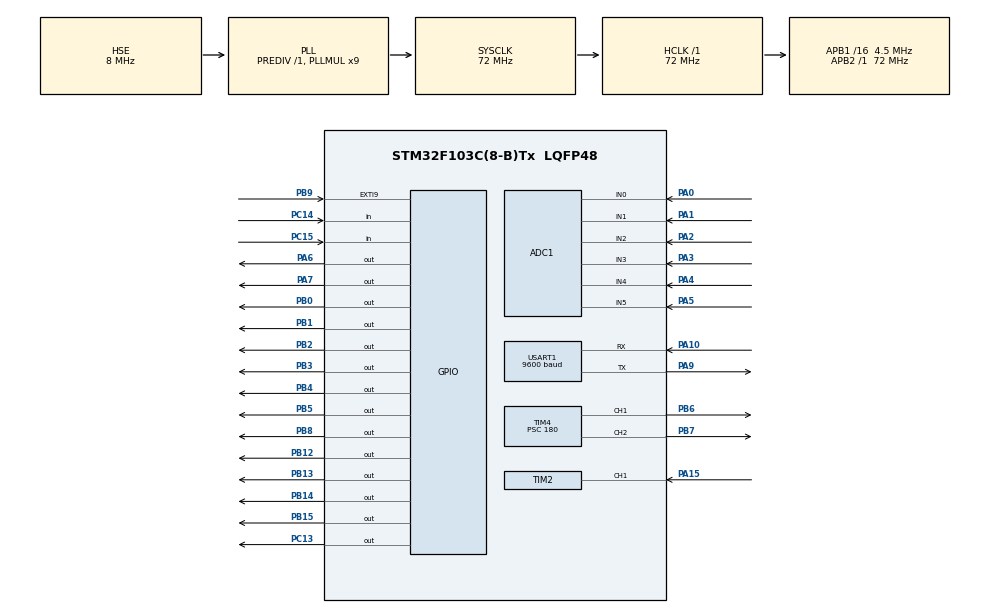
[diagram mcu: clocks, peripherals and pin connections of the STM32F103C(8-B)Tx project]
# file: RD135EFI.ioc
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ADC1.Channel-0\#ChannelRegularConversion=ADC_CHANNEL_0
ADC1.Channel-1\#ChannelRegularConversion=ADC_CHANNEL_1
ADC1.Channel-2\#ChannelRegularConversion=ADC_CHANNEL_2
ADC1.Channel-3\#ChannelRegularConversion=ADC_CHANNEL_3
ADC1.Channel-4\#ChannelRegularConversion=ADC_CHANNEL_4
ADC1.Channel-5\#ChannelRegularConversion=ADC_CHANNEL_5
ADC1.Channel-6\#ChannelRegularConversion=ADC_CHANNEL_TEMPSENSOR
ADC1.ContinuousConvMode=ENABLE
ADC1.NbrOfConversion=7
ADC1.NbrOfConversionFlag=1
ADC1.Rank-0\#ChannelRegularConversion=1
ADC1.Rank-1\#ChannelRegularConversion=2
ADC1.Rank-2\#ChannelRegularConversion=3
ADC1.Rank-3\#ChannelRegularConversion=4
ADC1.Rank-4\#ChannelRegularConversion=5
ADC1.Rank-5\#ChannelRegularConversion=6
ADC1.Rank-6\#ChannelRegularConversion=7
ADC1.SamplingTime-0\#ChannelRegularConversion=ADC_SAMPLETIME_239CYCLES_5
ADC1.SamplingTime-1\#ChannelRegularConversion=ADC_SAMPLETIME_239CYCLES_5
ADC1.SamplingTime-2\#ChannelRegularConversion=ADC_SAMPLETIME_239CYCLES_5
ADC1.SamplingTime-3\#ChannelRegularConversion=ADC_SAMPLETIME_239CYCLES_5
ADC1.SamplingTime-4\#ChannelRegularConversion=ADC_SAMPLETIME_239CYCLES_5
ADC1.SamplingTime-5\#ChannelRegularConversion=ADC_SAMPLETIME_239CYCLES_5
ADC1.SamplingTime-6\#ChannelRegularConversion=ADC_SAMPLETIME_239CYCLES_5
ADC1.master=1
Dma.ADC1.0.Direction=DMA_PERIPH_TO_MEMORY
Dma.ADC1.0.Instance=DMA1_Channel1
Dma.ADC1.0.MemDataAlignment=DMA_MDATAALIGN_HALFWORD
Dma.ADC1.0.MemInc=DMA_MINC_ENABLE
Dma.ADC1.0.Mode=DMA_CIRCULAR
Dma.ADC1.0.PeriphDataAlignment=DMA_PDATAALIGN_HALFWORD
Dma.ADC1.0.PeriphInc=DMA_PINC_DISABLE
Dma.ADC1.0.Priority=DMA_PRIORITY_LOW
Dma.Request0=ADC1
Dma.Request1=USART1_RX
Dma.Request2=USART1_TX
Dma.USART1_RX.1.Direction=DMA_PERIPH_TO_MEMORY
Dma.USART1_RX.1.Instance=DMA1_Channel5
Dma.USART1_RX.1.MemDataAlignment=DMA_MDATAALIGN_BYTE
Dma.USART1_RX.1.MemInc=DMA_MINC_ENABLE
Dma.USART1_RX.1.Mode=DMA_NORMAL
Dma.USART1_RX.1.PeriphDataAlignment=DMA_PDATAALIGN_BYTE
Dma.USART1_RX.1.PeriphInc=DMA_PINC_DISABLE
Dma.USART1_RX.1.Priority=DMA_PRIORITY_LOW
Dma.USART1_TX.2.Direction=DMA_MEMORY_TO_PERIPH
Dma.USART1_TX.2.Instance=DMA1_Channel4
Dma.USART1_TX.2.MemDataAlignment=DMA_MDATAALIGN_BYTE
Dma.USART1_TX.2.MemInc=DMA_MINC_ENABLE
Dma.USART1_TX.2.Mode=DMA_NORMAL
Dma.USART1_TX.2.PeriphDataAlignment=DMA_PDATAALIGN_BYTE
Dma.USART1_TX.2.PeriphInc=DMA_PINC_DISABLE
Dma.USART1_TX.2.Priority=DMA_PRIORITY_LOW
Mcu.Family=STM32F1
Mcu.Name=STM32F103C(8-B)Tx
Mcu.Package=LQFP48
NVIC.ADC1_2_IRQn=true\:0\:0\:false\:false\:true\:true\:true
NVIC.DMA1_Channel1_IRQn=true\:0\:0\:false\:false\:true\:false\:true
NVIC.DMA1_Channel4_IRQn=true\:0\:0\:false\:false\:true\:false\:true
NVIC.DMA1_Channel5_IRQn=true\:0\:0\:false\:false\:true\:false\:true
NVIC.EXTI9_5_IRQn=true\:0\:0\:false\:false\:true\:true\:true
NVIC.FLASH_IRQn=true\:0\:0\:false\:false\:true\:true\:true
NVIC.PVD_IRQn=true\:0\:0\:false\:false\:true\:true\:true
NVIC.PriorityGroup=NVIC_PRIORITYGROUP_3
NVIC.RCC_IRQn=true\:0\:0\:false\:false\:true\:true\:false
NVIC.TIM2_IRQn=true\:0\:0\:true\:false\:true\:true\:true
NVIC.TIM4_IRQn=true\:1\:0\:true\:false\:true\:true\:true
NVIC.USART1_IRQn=true\:0\:0\:false\:false\:true\:true\:true
PA0-WKUP.Signal=ADCx_IN0
PA1.Signal=ADCx_IN1
PA10.Mode=Asynchronous
PA10.Signal=USART1_RX
PA11.Signal=CAN_RX
PA12.Signal=CAN_TX
PA13.Mode=Serial_Wire
PA13.Signal=SYS_JTMS-SWDIO
PA14.Mode=Serial_Wire
PA14.Signal=SYS_JTCK-SWCLK
PA15.GPIO_PuPd=GPIO_PULLUP
PA15.Signal=S_TIM2_CH1_ETR
PA2.Signal=ADCx_IN2
PA3.Signal=ADCx_IN3
PA4.Signal=ADCx_IN4
PA5.Signal=ADCx_IN5
PA6.GPIO_Speed=GPIO_SPEED_FREQ_HIGH
PA6.Signal=GPIO_Output
PA7.GPIO_ModeDefaultOutputPP=GPIO_MODE_OUTPUT_OD
PA7.Signal=GPIO_Output
PA8.Signal=S_TIM1_CH1
PA9.Mode=Asynchronous
PA9.Signal=USART1_TX
PB0.GPIO_Speed=GPIO_SPEED_FREQ_HIGH
PB0.Signal=GPIO_Output
PB1.GPIO_ModeDefaultOutputPP=GPIO_MODE_OUTPUT_PP
PB1.GPIO_PuPd=GPIO_NOPULL
PB1.GPIO_Speed=GPIO_SPEED_FREQ_HIGH
PB1.Signal=GPIO_Output
PB10.Signal=USART3_TX
PB11.Signal=USART3_RX
PB12.Signal=GPIO_Output
PB13.Signal=GPIO_Output
PB14.Signal=GPIO_Output
PB15.Signal=GPIO_Output
PB2.Signal=GPIO_Output
PB3.Signal=GPIO_Output
PB4.Signal=GPIO_Output
PB5.Signal=GPIO_Output
PB6.Signal=S_TIM4_CH1
PB7.Signal=S_TIM4_CH2
PB8.GPIO_ModeDefaultOutputPP=GPIO_MODE_OUTPUT_OD
PB8.Signal=GPIO_Output
PB9.Signal=GPXTI9
PC13-TAMPER-RTC.GPIO_ModeDefaultOutputPP=GPIO_MODE_OUTPUT_PP
PC13-TAMPER-RTC.GPIO_PuPd=GPIO_NOPULL
PC13-TAMPER-RTC.GPIO_Speed=GPIO_SPEED_FREQ_HIGH
PC13-TAMPER-RTC.PinState=GPIO_PIN_RESET
PC13-TAMPER-RTC.Signal=GPIO_Output
PC14-OSC32_IN.Signal=GPIO_Input
PC15-OSC32_OUT.Signal=GPIO_Input
PD0-OSC_IN.Mode=HSE-External-Oscillator
PD0-OSC_IN.Signal=RCC_OSC_IN
PD1-OSC_OUT.Mode=HSE-External-Oscillator
PD1-OSC_OUT.Signal=RCC_OSC_OUT
ProjectManager.HeapSize=0x200
ProjectManager.StackSize=0x400
ProjectManager.TargetToolchain=MDK-ARM V5.27
RCC.ADCPresc=RCC_ADCPCLK2_DIV8
RCC.AHBFreq_Value=72000000
RCC.APB1CLKDivider=RCC_HCLK_DIV16
RCC.APB1Freq_Value=4500000
RCC.APB1TimFreq_Value=9000000
RCC.APB2Freq_Value=72000000
RCC.APB2TimFreq_Value=72000000
RCC.HCLKFreq_Value=72000000
RCC.PLLMUL=RCC_PLL_MUL9
RCC.PLLSourceVirtual=RCC_PLLSOURCE_HSE
RCC.SYSCLKFreq_VALUE=72000000
RCC.SYSCLKSource=RCC_SYSCLKSOURCE_PLLCLK
RCC.USBFreq_Value=72000000
SH.ADCx_IN0.0=ADC1_IN0,IN0
SH.ADCx_IN1.0=ADC1_IN1,IN1
SH.ADCx_IN2.0=ADC1_IN2,IN2
SH.ADCx_IN3.0=ADC1_IN3,IN3
SH.ADCx_IN4.0=ADC1_IN4,IN4
SH.ADCx_IN5.0=ADC1_IN5,IN5
SH.S_TIM1_CH1.0=TIM1_CH1
SH.S_TIM2_CH1_ETR.0=TIM2_CH1,Input_Capture1_from_TI1
SH.S_TIM2_CH1_ETR.1=TIM2_CH1,Input_Capture2_from_TI1
SH.S_TIM4_CH1.0=TIM4_CH1,PWM Generation1 CH1
SH.S_TIM4_CH2.0=TIM4_CH2,PWM Generation2 CH2
TIM2.AutoReloadPreload=TIM_AUTORELOAD_PRELOAD_DISABLE
TIM2.Channel-Input_Capture1_from_TI1=TIM_CHANNEL_1
TIM2.Channel-Input_Capture2_from_TI1=TIM_CHANNEL_2
TIM2.ClockDivision=TIM_CLOCKDIVISION_DIV1
TIM2.CounterMode=TIM_COUNTERMODE_UP
TIM2.ICFilter_CH1=3
TIM2.Period=65535
TIM2.Prescaler=55
TIM2.TIM_MasterOutputTrigger=TIM_TRGO_RESET
TIM4.Channel-Output\ Compare3\ No\ Output=TIM_CHANNEL_3
TIM4.Channel-Output\ Compare4\ No\ Output=TIM_CHANNEL_4
TIM4.Channel-PWM\ Generation1\ CH1=TIM_CHANNEL_1
TIM4.Channel-PWM\ Generation2\ CH2=TIM_CHANNEL_2
TIM4.OCPolarity_1=TIM_OCPOLARITY_HIGH
TIM4.OCPolarity_2=TIM_OCPOLARITY_LOW
TIM4.Period=1000
TIM4.Prescaler=180
USART1.BaudRate=9600
USART1.VirtualMode=VM_ASYNC
VP_ADC1_TempSens_Input.Mode=IN-TempSens
VP_TIM2_VS_ClockSourceINT.Mode=Internal
VP_TIM4_VS_ClockSourceINT.Mode=Internal
VP_TIM4_VS_no_output3.Mode=Output Compare3 No Output
VP_TIM4_VS_no_output4.Mode=Output Compare4 No Output
board=custom

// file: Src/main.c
/* USER CODE BEGIN Header */
/**
  ******************************************************************************
  * @file           : main.c
  * @brief          : Main program body
  ******************************************************************************
  * @attention
  *
  * <h2><center>&copy; Copyright (c) 2021 STMicroelectronics.
  * All rights reserved.</center></h2>
  *
  * This software component is licensed by ST under BSD 3-Clause license,
  * the "License"; You may not use this file except in compliance with the
  * License. You may obtain a copy of the License at:
  *                        opensource.org/licenses/BSD-3-Clause
  *
  ******************************************************************************
  */
/* USER CODE END Header */
#include "main.h"

/* USER CODE BEGIN Includes */
#include "GEN_DEF.h"
#include "IO_CONTROL.h"
#include "SENSORS.h"
#include "SCHEDULLER.h"
#include "TIMER_FUNC.h"
#include "TOOLS.h"
#include "IDLE_CONTROL.h"
#include "LAMBDA_CONTROL.h"
#include "FLASH_PAGE.h"
#include "TPS_TREATMENT.h"
#include "ENGINE_STATE.h"
#include "FUEL_CALCULATION.h"
#include "VRS_TREATMENT.h"
#include "USART_COMM.h"

/* USER CODE END Includes */

ADC_HandleTypeDef hadc1;
DMA_HandleTypeDef hdma_adc1;

TIM_HandleTypeDef htim2;
TIM_HandleTypeDef htim4;

UART_HandleTypeDef huart1;
DMA_HandleTypeDef hdma_usart1_rx;
DMA_HandleTypeDef hdma_usart1_tx;

void SystemClock_Config(void);
static void MX_GPIO_Init(void);
static void MX_DMA_Init(void);
static void MX_TIM2_Init(void);
static void MX_TIM4_Init(void);
static void MX_ADC1_Init(void);
static void MX_USART1_UART_Init(void);
/* USER CODE BEGIN PFP */

void Task_Fast(void)
{
    //HAL_IWDG_Init(&hiwdg);
    //Read analog sensors
    Read_Analog_Sensors();

    //Treat analog sensors
    TPSLinearization();
    MAPLinearization();
    LambdaLinearization();
    EngineTempLinearization();
    TairLinearization();

    //Fuel calculation
    AccelDer();
    InjectorDeadTimeCalc();
	  PulseDetection();
    Eng_State();
    FuelCalc();
}

void Task_Medium(void)
{
    Idle_Management();

	  receiveData();

    if(flgTransmition)
    {
        transmitSystemInfo();
    }
}

void Task_Slow(void)
{
	  LearnTPSLimits();  //On test

    Board_Temp();
    VBatLinearization();
	  //Engine_STOP_test();
}

/* USER CODE END PFP */

/* USER CODE BEGIN 0 */
void HAL_UART_TxCpltCallback(UART_HandleTypeDef *huart)
{
    transmstatus = TRANSMISSION_DONE;
}

void HAL_UART_RxCpltCallback(UART_HandleTypeDef *huart)
{
    HAL_UART_Receive_DMA(&huart1, (uint8_t*)UART1_rxBuffer, sizeof(UART1_rxBuffer));
    receptstatus = DATA_AVAILABLE_RX_BUFFER;
}

void HAL_UART_ErrorCallback(UART_HandleTypeDef *huart)
{
    static int8_t k;

    k++;
}

/* USER CODE END 0 */

int main(void)
{

  /* MCU Configuration--------------------------------------------------------*/

  /* Reset of all peripherals, Initializes the Flash interface and the Systick. */
  HAL_Init();

  /* USER CODE BEGIN Init */
	systemInitialization();
  /* USER CODE END Init */

  /* Configure the system clock */
  SystemClock_Config();

  /* Initialize all configured peripherals */
  MX_GPIO_Init();
  MX_DMA_Init();
  MX_TIM2_Init();
  MX_TIM4_Init();
  MX_ADC1_Init();
  MX_USART1_UART_Init();
  /* USER CODE BEGIN 2 */

	//VRS signal
	HAL_TIM_IC_Start_IT(&htim2, TIM_CHANNEL_1);
	HAL_TIM_IC_Start_IT(&htim2, TIM_CHANNEL_2);
	HAL_TIM_Base_Start_IT(&htim2);

  //Hardware initialization
  Hardware_Init();

	//Analog sensors
	HAL_ADC_Start_DMA(&hadc1,(uint32_t *)adcArray,7);

	//Timer to generate IAV PWM signal control
	HAL_TIM_PWM_Start(&htim4,TIM_CHANNEL_1);

	//Maybe in future I will don´t need PWM to control Idle valve
  HAL_TIM_PWM_Start(&htim4,TIM_CHANNEL_2);

  /* USER CODE END 2 */

  /* Infinite loop */
  /* USER CODE BEGIN WHILE */
  while (1)
  {
			//Update the pulse calc scenario
      if (scenario.Update_calc == TRUE)
      {
					EngineSpeedCalculation();
          scenario.Update_calc = FALSE;
      }

      //Scheduler
      Periodic_task(20,&Task_Fast,array_sched_var,0);    //20ms
      Periodic_task(100,&Task_Medium,array_sched_var,1); //100ms
      Periodic_task(1000,&Task_Slow,array_sched_var,2);  //1s

      //Timer Management
      TimerListManagement(timerList);

    /* USER CODE END WHILE */

  }
}

void SystemClock_Config(void)
{
  RCC_OscInitTypeDef RCC_OscInitStruct = {0};
  RCC_ClkInitTypeDef RCC_ClkInitStruct = {0};
  RCC_PeriphCLKInitTypeDef PeriphClkInit = {0};

  /** Initializes the RCC Oscillators according to the specified parameters
  * in the RCC_OscInitTypeDef structure.
  */
  RCC_OscInitStruct.OscillatorType = RCC_OSCILLATORTYPE_HSE;
  RCC_OscInitStruct.HSEState = RCC_HSE_ON;
  RCC_OscInitStruct.HSEPredivValue = RCC_HSE_PREDIV_DIV1;
  RCC_OscInitStruct.HSIState = RCC_HSI_ON;
  RCC_OscInitStruct.PLL.PLLState = RCC_PLL_ON;
  RCC_OscInitStruct.PLL.PLLSource = RCC_PLLSOURCE_HSE;
  RCC_OscInitStruct.PLL.PLLMUL = RCC_PLL_MUL9;
  if (HAL_RCC_OscConfig(&RCC_OscInitStruct) != HAL_OK)
  {
    Error_Handler();
  }
  /** Initializes the CPU, AHB and APB buses clocks
  */
  RCC_ClkInitStruct.ClockType = RCC_CLOCKTYPE_HCLK|RCC_CLOCKTYPE_SYSCLK
                              |RCC_CLOCKTYPE_PCLK1|RCC_CLOCKTYPE_PCLK2;
  RCC_ClkInitStruct.SYSCLKSource = RCC_SYSCLKSOURCE_PLLCLK;
  RCC_ClkInitStruct.AHBCLKDivider = RCC_SYSCLK_DIV1;
  RCC_ClkInitStruct.APB1CLKDivider = RCC_HCLK_DIV16;
  RCC_ClkInitStruct.APB2CLKDivider = RCC_HCLK_DIV1;

  if (HAL_RCC_ClockConfig(&RCC_ClkInitStruct, FLASH_LATENCY_2) != HAL_OK)
  {
    Error_Handler();
  }
  PeriphClkInit.PeriphClockSelection = RCC_PERIPHCLK_ADC;
  PeriphClkInit.AdcClockSelection = RCC_ADCPCLK2_DIV8;
  if (HAL_RCCEx_PeriphCLKConfig(&PeriphClkInit) != HAL_OK)
  {
    Error_Handler();
  }
}

static void MX_ADC1_Init(void)
{

  ADC_ChannelConfTypeDef sConfig = {0};

  /** Common config
  */
  hadc1.Instance = ADC1;
  hadc1.Init.ScanConvMode = ADC_SCAN_ENABLE;
  hadc1.Init.ContinuousConvMode = ENABLE;
  hadc1.Init.DiscontinuousConvMode = DISABLE;
  hadc1.Init.ExternalTrigConv = ADC_SOFTWARE_START;
  hadc1.Init.DataAlign = ADC_DATAALIGN_RIGHT;
  hadc1.Init.NbrOfConversion = 7;
  if (HAL_ADC_Init(&hadc1) != HAL_OK)
  {
    Error_Handler();
  }
  /** Configure Regular Channel
  */
  sConfig.Channel = ADC_CHANNEL_0;
  sConfig.Rank = ADC_REGULAR_RANK_1;
  sConfig.SamplingTime = ADC_SAMPLETIME_239CYCLES_5;
  if (HAL_ADC_ConfigChannel(&hadc1, &sConfig) != HAL_OK)
  {
    Error_Handler();
  }
  /** Configure Regular Channel
  */
  sConfig.Channel = ADC_CHANNEL_1;
  sConfig.Rank = ADC_REGULAR_RANK_2;
  if (HAL_ADC_ConfigChannel(&hadc1, &sConfig) != HAL_OK)
  {
    Error_Handler();
  }
  /** Configure Regular Channel
  */
  sConfig.Channel = ADC_CHANNEL_2;
  sConfig.Rank = ADC_REGULAR_RANK_3;
  if (HAL_ADC_ConfigChannel(&hadc1, &sConfig) != HAL_OK)
  {
    Error_Handler();
  }
  /** Configure Regular Channel
  */
  sConfig.Channel = ADC_CHANNEL_3;
  sConfig.Rank = ADC_REGULAR_RANK_4;
  if (HAL_ADC_ConfigChannel(&hadc1, &sConfig) != HAL_OK)
  {
    Error_Handler();
  }
  /** Configure Regular Channel
  */
  sConfig.Channel = ADC_CHANNEL_4;
  sConfig.Rank = ADC_REGULAR_RANK_5;
  if (HAL_ADC_ConfigChannel(&hadc1, &sConfig) != HAL_OK)
  {
    Error_Handler();
  }
  /** Configure Regular Channel
  */
  sConfig.Channel = ADC_CHANNEL_5;
  sConfig.Rank = ADC_REGULAR_RANK_6;
  if (HAL_ADC_ConfigChannel(&hadc1, &sConfig) != HAL_OK)
  {
    Error_Handler();
  }
  /** Configure Regular Channel
  */
  sConfig.Channel = ADC_CHANNEL_TEMPSENSOR;
  sConfig.Rank = ADC_REGULAR_RANK_7;
  if (HAL_ADC_ConfigChannel(&hadc1, &sConfig) != HAL_OK)
  {
    Error_Handler();
  }

}

static void MX_TIM2_Init(void)
{

  TIM_ClockConfigTypeDef sClockSourceConfig = {0};
  TIM_MasterConfigTypeDef sMasterConfig = {0};
  TIM_IC_InitTypeDef sConfigIC = {0};

  htim2.Instance = TIM2;
  htim2.Init.Prescaler = 55;
  htim2.Init.CounterMode = TIM_COUNTERMODE_UP;
  htim2.Init.Period = 65535;
  htim2.Init.ClockDivision = TIM_CLOCKDIVISION_DIV1;
  htim2.Init.AutoReloadPreload = TIM_AUTORELOAD_PRELOAD_DISABLE;
  if (HAL_TIM_Base_Init(&htim2) != HAL_OK)
  {
    Error_Handler();
  }
  sClockSourceConfig.ClockSource = TIM_CLOCKSOURCE_INTERNAL;
  if (HAL_TIM_ConfigClockSource(&htim2, &sClockSourceConfig) != HAL_OK)
  {
    Error_Handler();
  }
  if (HAL_TIM_IC_Init(&htim2) != HAL_OK)
  {
    Error_Handler();
  }
  sMasterConfig.MasterOutputTrigger = TIM_TRGO_RESET;
  sMasterConfig.MasterSlaveMode = TIM_MASTERSLAVEMODE_DISABLE;
  if (HAL_TIMEx_MasterConfigSynchronization(&htim2, &sMasterConfig) != HAL_OK)
  {
    Error_Handler();
  }
  sConfigIC.ICPolarity = TIM_INPUTCHANNELPOLARITY_RISING;
  sConfigIC.ICSelection = TIM_ICSELECTION_DIRECTTI;
  sConfigIC.ICPrescaler = TIM_ICPSC_DIV1;
  sConfigIC.ICFilter = 3;
  if (HAL_TIM_IC_ConfigChannel(&htim2, &sConfigIC, TIM_CHANNEL_1) != HAL_OK)
  {
    Error_Handler();
  }
  sConfigIC.ICSelection = TIM_ICSELECTION_INDIRECTTI;
  sConfigIC.ICFilter = 0;
  if (HAL_TIM_IC_ConfigChannel(&htim2, &sConfigIC, TIM_CHANNEL_2) != HAL_OK)
  {
    Error_Handler();
  }

}

static void MX_TIM4_Init(void)
{

  TIM_ClockConfigTypeDef sClockSourceConfig = {0};
  TIM_MasterConfigTypeDef sMasterConfig = {0};
  TIM_OC_InitTypeDef sConfigOC = {0};

  htim4.Instance = TIM4;
  htim4.Init.Prescaler = 180;
  htim4.Init.CounterMode = TIM_COUNTERMODE_UP;
  htim4.Init.Period = 1000;
  htim4.Init.ClockDivision = TIM_CLOCKDIVISION_DIV1;
  htim4.Init.AutoReloadPreload = TIM_AUTORELOAD_PRELOAD_DISABLE;
  if (HAL_TIM_Base_Init(&htim4) != HAL_OK)
  {
    Error_Handler();
  }
  sClockSourceConfig.ClockSource = TIM_CLOCKSOURCE_INTERNAL;
  if (HAL_TIM_ConfigClockSource(&htim4, &sClockSourceConfig) != HAL_OK)
  {
    Error_Handler();
  }
  if (HAL_TIM_PWM_Init(&htim4) != HAL_OK)
  {
    Error_Handler();
  }
  if (HAL_TIM_OC_Init(&htim4) != HAL_OK)
  {
    Error_Handler();
  }
  sMasterConfig.MasterOutputTrigger = TIM_TRGO_RESET;
  sMasterConfig.MasterSlaveMode = TIM_MASTERSLAVEMODE_DISABLE;
  if (HAL_TIMEx_MasterConfigSynchronization(&htim4, &sMasterConfig) != HAL_OK)
  {
    Error_Handler();
  }
  sConfigOC.OCMode = TIM_OCMODE_PWM1;
  sConfigOC.Pulse = 0;
  sConfigOC.OCPolarity = TIM_OCPOLARITY_HIGH;
  sConfigOC.OCFastMode = TIM_OCFAST_DISABLE;
  if (HAL_TIM_PWM_ConfigChannel(&htim4, &sConfigOC, TIM_CHANNEL_1) != HAL_OK)
  {
    Error_Handler();
  }
  sConfigOC.OCPolarity = TIM_OCPOLARITY_LOW;
  if (HAL_TIM_PWM_ConfigChannel(&htim4, &sConfigOC, TIM_CHANNEL_2) != HAL_OK)
  {
    Error_Handler();
  }
  sConfigOC.OCMode = TIM_OCMODE_TIMING;
  sConfigOC.OCPolarity = TIM_OCPOLARITY_HIGH;
  if (HAL_TIM_OC_ConfigChannel(&htim4, &sConfigOC, TIM_CHANNEL_3) != HAL_OK)
  {
    Error_Handler();
  }
  if (HAL_TIM_OC_ConfigChannel(&htim4, &sConfigOC, TIM_CHANNEL_4) != HAL_OK)
  {
    Error_Handler();
  }
  HAL_TIM_MspPostInit(&htim4);

}

static void MX_USART1_UART_Init(void)
{

  huart1.Instance = USART1;
  huart1.Init.BaudRate = 9600;
  huart1.Init.WordLength = UART_WORDLENGTH_8B;
  huart1.Init.StopBits = UART_STOPBITS_1;
  huart1.Init.Parity = UART_PARITY_NONE;
  huart1.Init.Mode = UART_MODE_TX_RX;
  huart1.Init.HwFlowCtl = UART_HWCONTROL_NONE;
  huart1.Init.OverSampling = UART_OVERSAMPLING_16;
  if (HAL_UART_Init(&huart1) != HAL_OK)
  {
    Error_Handler();
  }

}

static void MX_DMA_Init(void)
{

  /* DMA controller clock enable */
  __HAL_RCC_DMA1_CLK_ENABLE();

  /* DMA interrupt init */
  /* DMA1_Channel1_IRQn interrupt configuration */
  HAL_NVIC_SetPriority(DMA1_Channel1_IRQn, 0, 0);
  HAL_NVIC_EnableIRQ(DMA1_Channel1_IRQn);
  /* DMA1_Channel4_IRQn interrupt configuration */
  HAL_NVIC_SetPriority(DMA1_Channel4_IRQn, 0, 0);
  HAL_NVIC_EnableIRQ(DMA1_Channel4_IRQn);
  /* DMA1_Channel5_IRQn interrupt configuration */
  HAL_NVIC_SetPriority(DMA1_Channel5_IRQn, 0, 0);
  HAL_NVIC_EnableIRQ(DMA1_Channel5_IRQn);

}

static void MX_GPIO_Init(void)
{
  GPIO_InitTypeDef GPIO_InitStruct = {0};

  /* GPIO Ports Clock Enable */
  __HAL_RCC_GPIOC_CLK_ENABLE();
  __HAL_RCC_GPIOD_CLK_ENABLE();
  __HAL_RCC_GPIOA_CLK_ENABLE();
  __HAL_RCC_GPIOB_CLK_ENABLE();

  /*Configure GPIO pin Output Level */
  HAL_GPIO_WritePin(GPIOC, GPIO_PIN_13, GPIO_PIN_RESET);

  /*Configure GPIO pin Output Level */
  HAL_GPIO_WritePin(GPIOA, GPIO_PIN_6|GPIO_PIN_7, GPIO_PIN_RESET);

  /*Configure GPIO pin Output Level */
  HAL_GPIO_WritePin(GPIOB, GPIO_PIN_0|GPIO_PIN_1|GPIO_PIN_2|GPIO_PIN_12
                          |GPIO_PIN_13|GPIO_PIN_14|GPIO_PIN_15|GPIO_PIN_3
                          |GPIO_PIN_4|GPIO_PIN_5|GPIO_PIN_8, GPIO_PIN_RESET);

  /*Configure GPIO pin : PC13 */
  GPIO_InitStruct.Pin = GPIO_PIN_13;
  GPIO_InitStruct.Mode = GPIO_MODE_OUTPUT_PP;
  GPIO_InitStruct.Pull = GPIO_NOPULL;
  GPIO_InitStruct.Speed = GPIO_SPEED_FREQ_HIGH;
  HAL_GPIO_Init(GPIOC, &GPIO_InitStruct);

  /*Configure GPIO pins : PC14 PC15 */
  GPIO_InitStruct.Pin = GPIO_PIN_14|GPIO_PIN_15;
  GPIO_InitStruct.Mode = GPIO_MODE_INPUT;
  GPIO_InitStruct.Pull = GPIO_NOPULL;
  HAL_GPIO_Init(GPIOC, &GPIO_InitStruct);

  /*Configure GPIO pin : PA6 */
  GPIO_InitStruct.Pin = GPIO_PIN_6;
  GPIO_InitStruct.Mode = GPIO_MODE_OUTPUT_PP;
  GPIO_InitStruct.Pull = GPIO_NOPULL;
  GPIO_InitStruct.Speed = GPIO_SPEED_FREQ_HIGH;
  HAL_GPIO_Init(GPIOA, &GPIO_InitStruct);

  /*Configure GPIO pin : PA7 */
  GPIO_InitStruct.Pin = GPIO_PIN_7;
  GPIO_InitStruct.Mode = GPIO_MODE_OUTPUT_OD;
  GPIO_InitStruct.Pull = GPIO_NOPULL;
  GPIO_InitStruct.Speed = GPIO_SPEED_FREQ_LOW;
  HAL_GPIO_Init(GPIOA, &GPIO_InitStruct);

  /*Configure GPIO pins : PB0 PB1 */
  GPIO_InitStruct.Pin = GPIO_PIN_0|GPIO_PIN_1;
  GPIO_InitStruct.Mode = GPIO_MODE_OUTPUT_PP;
  GPIO_InitStruct.Pull = GPIO_NOPULL;
  GPIO_InitStruct.Speed = GPIO_SPEED_FREQ_HIGH;
  HAL_GPIO_Init(GPIOB, &GPIO_InitStruct);

  /*Configure GPIO pins : PB2 PB12 PB13 PB14
                           PB15 PB3 PB4 PB5 */
  GPIO_InitStruct.Pin = GPIO_PIN_2|GPIO_PIN_12|GPIO_PIN_13|GPIO_PIN_14
                          |GPIO_PIN_15|GPIO_PIN_3|GPIO_PIN_4|GPIO_PIN_5;
  GPIO_InitStruct.Mode = GPIO_MODE_OUTPUT_PP;
  GPIO_InitStruct.Pull = GPIO_NOPULL;
  GPIO_InitStruct.Speed = GPIO_SPEED_FREQ_LOW;
  HAL_GPIO_Init(GPIOB, &GPIO_InitStruct);

  /*Configure GPIO pin : PB10 */
  GPIO_InitStruct.Pin = GPIO_PIN_10;
  GPIO_InitStruct.Mode = GPIO_MODE_AF_PP;
  GPIO_InitStruct.Speed = GPIO_SPEED_FREQ_HIGH;
  HAL_GPIO_Init(GPIOB, &GPIO_InitStruct);

  /*Configure GPIO pin : PB11 */
  GPIO_InitStruct.Pin = GPIO_PIN_11;
  GPIO_InitStruct.Mode = GPIO_MODE_INPUT;
  GPIO_InitStruct.Pull = GPIO_NOPULL;
  HAL_GPIO_Init(GPIOB, &GPIO_InitStruct);

  /*Configure GPIO pin : PA8 */
  GPIO_InitStruct.Pin = GPIO_PIN_8;
  GPIO_InitStruct.Mode = GPIO_MODE_AF_PP;
  GPIO_InitStruct.Speed = GPIO_SPEED_FREQ_LOW;
  HAL_GPIO_Init(GPIOA, &GPIO_InitStruct);

  /*Configure GPIO pin : PA11 */
  GPIO_InitStruct.Pin = GPIO_PIN_11;
  GPIO_InitStruct.Mode = GPIO_MODE_INPUT;
  GPIO_InitStruct.Pull = GPIO_NOPULL;
  HAL_GPIO_Init(GPIOA, &GPIO_InitStruct);

  /*Configure GPIO pin : PA12 */
  GPIO_InitStruct.Pin = GPIO_PIN_12;
  GPIO_InitStruct.Mode = GPIO_MODE_AF_PP;
  GPIO_InitStruct.Speed = GPIO_SPEED_FREQ_HIGH;
  HAL_GPIO_Init(GPIOA, &GPIO_InitStruct);

  /*Configure GPIO pin : PB8 */
  GPIO_InitStruct.Pin = GPIO_PIN_8;
  GPIO_InitStruct.Mode = GPIO_MODE_OUTPUT_OD;
  GPIO_InitStruct.Pull = GPIO_NOPULL;
  GPIO_InitStruct.Speed = GPIO_SPEED_FREQ_LOW;
  HAL_GPIO_Init(GPIOB, &GPIO_InitStruct);

  /*Configure GPIO pin : PB9 */
  GPIO_InitStruct.Pin = GPIO_PIN_9;
  GPIO_InitStruct.Mode = GPIO_MODE_IT_RISING;
  GPIO_InitStruct.Pull = GPIO_NOPULL;
  HAL_GPIO_Init(GPIOB, &GPIO_InitStruct);

  /* EXTI interrupt init*/
  HAL_NVIC_SetPriority(EXTI9_5_IRQn, 0, 0);
  HAL_NVIC_EnableIRQ(EXTI9_5_IRQn);

}

/* USER CODE BEGIN 4 */

void HAL_TIM_PeriodElapsedCallback(TIM_HandleTypeDef *htim)
{
    if(htim->Instance == TIM2)
    {
        scenario.nOverflow++;
    }
}

void HAL_TIM_IC_CaptureCallback(TIM_HandleTypeDef *htim)
{
    if((htim->Instance == TIM2)&&
       (htim->Channel == HAL_TIM_ACTIVE_CHANNEL_1))
    {
        Rising_Edge_Event();
    }

    if((htim->Instance == TIM2)&&
       (htim->Channel == HAL_TIM_ACTIVE_CHANNEL_2))
    {
        Falling_Edge_Event();
    }
}

/* USER CODE END 4 */

void Error_Handler(void)
{
}

/************************ (C) COPYRIGHT STMicroelectronics *****END OF FILE****/
